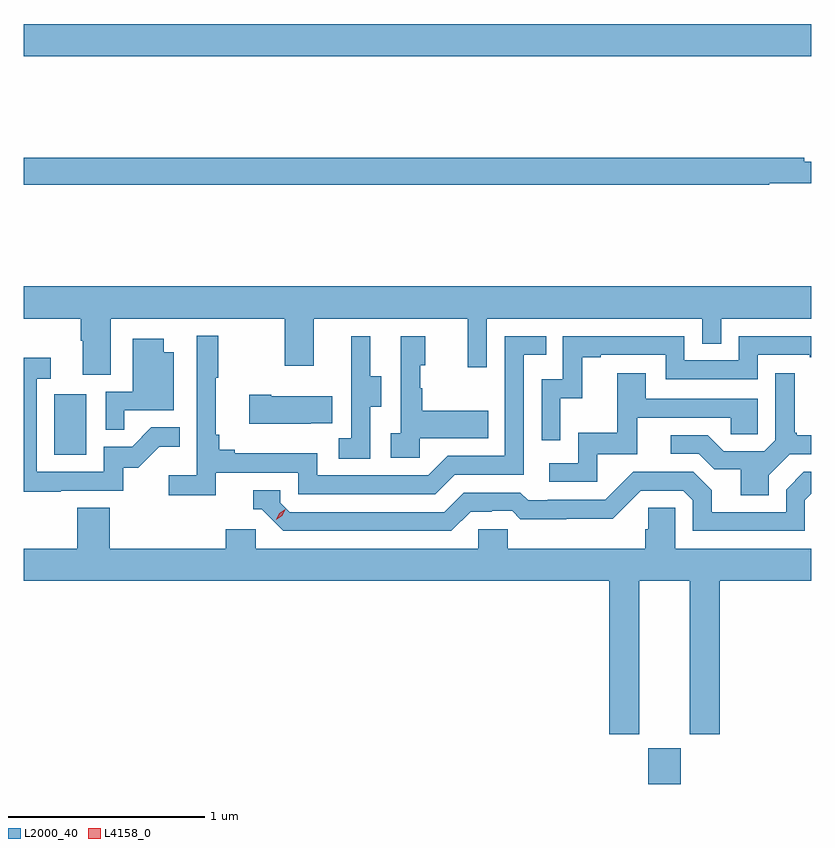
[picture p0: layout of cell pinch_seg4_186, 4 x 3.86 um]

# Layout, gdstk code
import gdstk
lib = gdstk.Library(unit=1e-6, precision=1e-09)
def R(c, l, rs):  # rectangles x0, y0, x1, y1
    for r in rs: c.add(gdstk.rectangle(r[:2], r[2:], *l))
def P(c, l, *ps):  # polygons
    for p in ps: c.add(gdstk.Polygon(p, *l))
L2000_40 = (2000, 40)
L4158_0 = (4158, 0)

pinch_seg4_186 = lib.new_cell('pinch_seg4_186')
R(pinch_seg4_186, L2000_40, [(967.316,825.092,967.48,825.273), (964.298,826.764,964.462,827.071), (964.144,828.788,968.144,828.952)])
P(pinch_seg4_186, L2000_40, [(967.93,828.144),(968.144,828.144),(968.144,828.253),(968.108,828.253),(968.108,828.272),(964.144,828.272),(964.144,828.136),(967.93,828.136)],
  [(964.585,827.456),(965.47,827.456),(965.47,827.217),(965.617,827.217),(965.617,827.456),(966.398,827.456),(966.398,827.208),(966.495,827.208),(966.495,827.456),(967.59,827.456),(967.59,827.329),(967.686,827.329),(967.686,827.456),(968.144,827.456),(968.144,827.62),(964.144,827.62),(964.144,827.456),(964.433,827.456),(964.433,827.344),(964.445,827.344),(964.445,827.17),(964.585,827.17)],
  [(965.12,826.674),(965.538,826.674),(965.538,826.563),(966.235,826.563),(966.334,826.662),(966.684,826.662),(966.684,827.271),(966.797,827.271),(966.797,827.367),(966.588,827.367),(966.588,826.758),(966.297,826.758),(966.198,826.659),(965.634,826.659),(965.634,826.771),(965.215,826.771),(965.215,826.79),(965.138,826.79),(965.138,826.867),(965.119,826.867),(965.119,827.155),(965.131,827.155),(965.131,827.368),(965.022,827.368),(965.022,826.66),(964.881,826.66),(964.881,826.558),(965.12,826.558)],
  [(966.87,827.051),(966.98,827.051),(966.98,827.259),(967.075,827.259),(967.075,827.271),(967.404,827.271),(967.404,827.148),(967.872,827.148),(967.872,827.271),(968.135,827.271),(968.135,827.259),(968.144,827.259),(968.144,827.367),(967.776,827.367),(967.776,827.244),(967.5,827.244),(967.5,827.367),(966.882,827.367),(966.882,827.148),(966.774,827.148),(966.774,826.839),(966.87,826.839)],
  [(965.904,827.008),(965.959,827.008),(965.959,827.163),(965.905,827.163),(965.905,827.365),(965.807,827.365),(965.807,827.151),(965.808,827.151),(965.808,826.847),(965.745,826.847),(965.745,826.744),(965.904,826.744)],
  [(966.156,826.847),(966.503,826.847),(966.503,826.987),(966.169,826.987),(966.169,827.102),(966.159,827.102),(966.159,827.22),(966.184,827.22),(966.184,827.365),(966.06,827.365),(966.06,826.874),(966.009,826.874),(966.009,826.749),(966.156,826.749)],
  [(964.655,826.989),(964.906,826.989),(964.906,827.284),(964.855,827.284),(964.855,827.353),(964.697,827.353),(964.697,827.085),(964.56,827.085),(964.56,826.891),(964.655,826.891)],
  [(964.331,826.581),(964.65,826.581),(964.65,826.698),(964.726,826.698),(964.833,826.805),(964.937,826.805),(964.937,826.903),(964.793,826.903),(964.696,826.806),(964.551,826.806),(964.551,826.677),(964.209,826.677),(964.209,827.151),(964.282,827.151),(964.282,827.257),(964.144,827.257),(964.144,826.576),(964.331,826.576)],
  [(967.927,826.66),(968.034,826.767),(968.144,826.767),(968.144,826.864),(968.071,826.864),(968.071,826.876),(968.059,826.876),(968.059,827.179),(967.962,827.179),(967.962,826.839),(967.905,826.782),(967.699,826.782),(967.618,826.863),(967.431,826.863),(967.431,826.77),(967.572,826.77),(967.652,826.69),(967.787,826.69),(967.787,826.558),(967.927,826.558)],
  [(967.056,826.767),(967.261,826.767),(967.261,826.953),(967.735,826.953),(967.735,826.869),(967.872,826.869),(967.872,827.049),(967.303,827.049),(967.303,827.179),(967.159,827.179),(967.159,826.876),(966.96,826.876),(966.96,826.722),(966.813,826.722),(966.813,826.626),(967.056,826.626)],
  [(965.603,826.925),(965.711,826.925),(965.711,827.062),(965.401,827.062),(965.401,827.07),(965.289,827.07),(965.289,826.922),(965.603,826.922)],
  [(966.415,826.476),(966.522,826.476),(966.522,826.479),(966.625,826.479),(966.667,826.437),(966.9,826.437),(966.9,826.439),(967.136,826.439),(967.278,826.581),(967.494,826.581),(967.542,826.533),(967.542,826.377),(968.112,826.377),(968.112,826.533),(968.144,826.565),(968.144,826.677),(968.106,826.677),(968.016,826.587),(968.016,826.473),(967.639,826.473),(967.639,826.583),(967.545,826.677),(967.239,826.677),(967.098,826.536),(966.805,826.536),(966.805,826.533),(966.706,826.533),(966.667,826.572),(966.378,826.572),(966.279,826.473),(965.496,826.473),(965.448,826.521),(965.448,826.584),(965.309,826.584),(965.309,826.488),(965.352,826.488),(965.463,826.377),(966.316,826.377)],
  [(967.118,825.345),(967.27,825.345),(967.27,826.124),(967.526,826.124),(967.526,825.345),(967.679,825.345),(967.679,826.124),(968.144,826.124),(968.144,826.288),(967.452,826.288),(967.452,826.496),(967.315,826.496),(967.315,826.386),(967.301,826.386),(967.301,826.288),(966.603,826.288),(966.603,826.386),(966.453,826.386),(966.453,826.288),(965.322,826.288),(965.322,826.386),(965.171,826.386),(965.171,826.288),(964.58,826.288),(964.58,826.496),(964.415,826.496),(964.415,826.288),(964.144,826.288),(964.144,826.124),(967.118,826.124)])
P(pinch_seg4_186, L4158_0, [(965.426,826.434),(965.426,826.435),(965.441,826.467),(965.472,826.487),(965.472,826.487),(965.472,826.486),(965.456,826.454),(965.426,826.434)])

lib.write_gds('pinch_seg4_186.gds')
